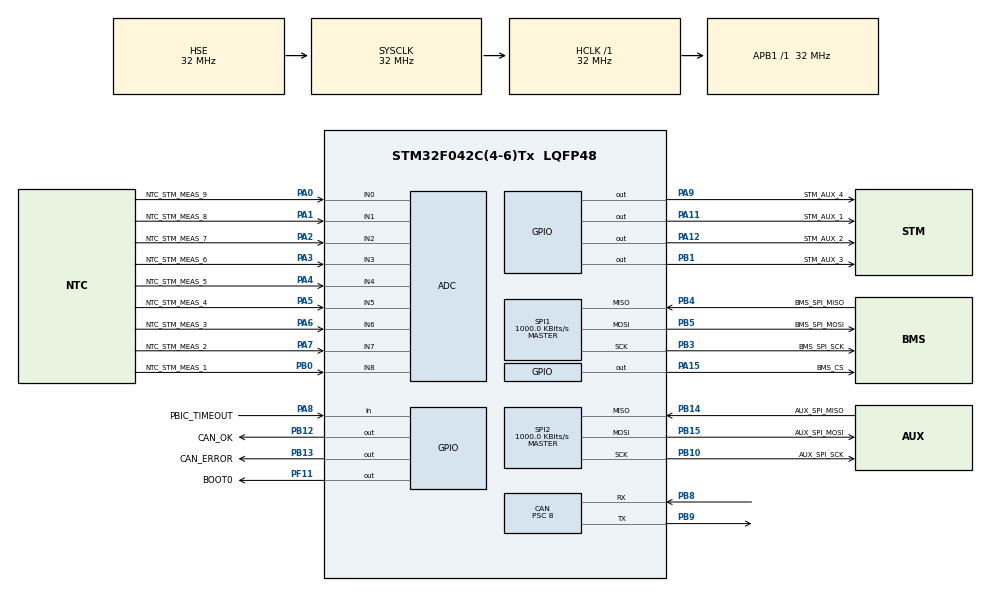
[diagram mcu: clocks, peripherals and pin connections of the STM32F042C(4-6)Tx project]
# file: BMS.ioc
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CAN.BS1=CAN_BS1_13TQ
CAN.BS2=CAN_BS2_2TQ
CAN.CalculateBaudRate=250000
CAN.CalculateTimeBit=4000
CAN.CalculateTimeQuantum=250.0
CAN.Prescaler=8
Mcu.Family=STM32F0
Mcu.Name=STM32F042C(4-6)Tx
Mcu.Package=LQFP48
NVIC.CEC_CAN_IRQn=true\:0\:0\:false\:false\:true\:true\:true\:true
NVIC.TIM14_IRQn=true\:0\:0\:false\:false\:true\:true\:true\:true
NVIC.TIM1_BRK_UP_TRG_COM_IRQn=true\:0\:0\:false\:false\:true\:true\:true\:true
NVIC.TIM1_CC_IRQn=true\:0\:0\:false\:false\:true\:true\:true\:true
NVIC.TIM3_IRQn=true\:0\:0\:false\:false\:true\:true\:true\:true
PA0.GPIO_Label=NTC_STM_MEAS_9
PA0.Mode=IN0
PA0.Signal=ADC_IN0
PA1.GPIO_Label=NTC_STM_MEAS_8
PA1.Mode=IN1
PA1.Signal=ADC_IN1
PA11.GPIO_Label=STM_AUX_1
PA11.Signal=GPIO_Output
PA12.GPIO_Label=STM_AUX_2
PA12.Signal=GPIO_Output
PA13.Mode=Serial_Wire
PA13.Signal=SYS_SWDIO
PA14.Mode=Serial_Wire
PA14.Signal=SYS_SWCLK
PA15.GPIO_Label=BMS_CS
PA15.PinState=GPIO_PIN_SET
PA15.Signal=GPIO_Output
PA2.GPIO_Label=NTC_STM_MEAS_7
PA2.Mode=IN2
PA2.Signal=ADC_IN2
PA3.GPIO_Label=NTC_STM_MEAS_6
PA3.Mode=IN3
PA3.Signal=ADC_IN3
PA4.GPIO_Label=NTC_STM_MEAS_5
PA4.Mode=IN4
PA4.Signal=ADC_IN4
PA5.GPIO_Label=NTC_STM_MEAS_4
PA5.Mode=IN5
PA5.Signal=ADC_IN5
PA6.GPIO_Label=NTC_STM_MEAS_3
PA6.Mode=IN6
PA6.Signal=ADC_IN6
PA7.GPIO_Label=NTC_STM_MEAS_2
PA7.Mode=IN7
PA7.Signal=ADC_IN7
PA8.GPIO_Label=PBIC_TIMEOUT
PA8.Signal=GPIO_Input
PA9.GPIO_Label=STM_AUX_4
PA9.Signal=GPIO_Output
PB0.GPIO_Label=NTC_STM_MEAS_1
PB0.Mode=IN8
PB0.Signal=ADC_IN8
PB1.GPIO_Label=STM_AUX_3
PB1.Signal=GPIO_Output
PB10.GPIO_Label=AUX_SPI_SCK
PB10.Mode=Full_Duplex_Master
PB10.Signal=SPI2_SCK
PB12.GPIO_Label=CAN_OK
PB12.Signal=GPIO_Output
PB13.GPIO_Label=CAN_ERROR
PB13.Signal=GPIO_Output
PB14.GPIO_Label=AUX_SPI_MISO
PB14.Mode=Full_Duplex_Master
PB14.Signal=SPI2_MISO
PB15.GPIO_Label=AUX_SPI_MOSI
PB15.Mode=Full_Duplex_Master
PB15.Signal=SPI2_MOSI
PB3.GPIO_Label=BMS_SPI_SCK
PB3.Mode=Full_Duplex_Master
PB3.Signal=SPI1_SCK
PB4.GPIO_Label=BMS_SPI_MISO
PB4.Mode=Full_Duplex_Master
PB4.Signal=SPI1_MISO
PB5.GPIO_Label=BMS_SPI_MOSI
PB5.Mode=Full_Duplex_Master
PB5.Signal=SPI1_MOSI
PB8.Mode=CAN_Activate
PB8.Signal=CAN_RX
PB9.Mode=CAN_Activate
PB9.Signal=CAN_TX
PF0-OSC_IN.Mode=HSE-External-Oscillator
PF0-OSC_IN.Signal=RCC_OSC_IN
PF1-OSC_OUT.Mode=HSE-External-Oscillator
PF1-OSC_OUT.Signal=RCC_OSC_OUT
PF11.GPIO_Label=BOOT0
PF11.GPIO_PuPd=GPIO_PULLDOWN
PF11.Signal=GPIO_Output
ProjectManager.HeapSize=0x200
ProjectManager.StackSize=0x400
ProjectManager.TargetToolchain=STM32CubeIDE
RCC.AHBFreq_Value=32000000
RCC.APB1Freq_Value=32000000
RCC.APB1TimFreq_Value=32000000
RCC.HCLKFreq_Value=32000000
RCC.HSE_VALUE=32000000
RCC.PLLSourceVirtual=RCC_PLLSOURCE_HSE
RCC.SYSCLKFreq_VALUE=32000000
RCC.SYSCLKSource=RCC_SYSCLKSOURCE_HSE
SPI1.BaudRatePrescaler=SPI_BAUDRATEPRESCALER_32
SPI1.CLKPhase=SPI_PHASE_1EDGE
SPI1.CLKPolarity=SPI_POLARITY_LOW
SPI1.CRCCalculation=SPI_CRCCALCULATION_DISABLE
SPI1.CalculateBaudRate=1000.0 KBits/s
SPI1.DataSize=SPI_DATASIZE_8BIT
SPI1.Direction=SPI_DIRECTION_2LINES
SPI1.Mode=SPI_MODE_MASTER
SPI1.VirtualType=VM_MASTER
SPI2.BaudRatePrescaler=SPI_BAUDRATEPRESCALER_32
SPI2.CalculateBaudRate=1000.0 KBits/s
SPI2.Direction=SPI_DIRECTION_2LINES
SPI2.Mode=SPI_MODE_MASTER
SPI2.VirtualType=VM_MASTER
TIM1.Channel-Output\ Compare1\ No\ Output=TIM_CHANNEL_1
TIM1.OCMode_1=TIM_OCMODE_TIMING
TIM1.Period=64101
TIM1.Prescaler=1247
TIM14.Channel=TIM_CHANNEL_1
TIM14.Period=62499
TIM14.Prescaler=511
TIM3.Channel-Output\ Compare1\ No\ Output=TIM_CHANNEL_1
TIM3.Period=62749
TIM3.Prescaler=127
VP_ADC_TempSens_Input.Mode=IN-TempSens
VP_TIM14_VS_ClockSourceINT.Mode=Enable_Timer
VP_TIM14_VS_no_output1.Mode=Output Compare1 No Output
VP_TIM1_VS_ClockSourceINT.Mode=Internal
VP_TIM1_VS_no_output1.Mode=Output Compare1 No Output
VP_TIM3_VS_ClockSourceINT.Mode=Internal
VP_TIM3_VS_no_output1.Mode=Output Compare1 No Output
board=custom

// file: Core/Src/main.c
/* USER CODE BEGIN Header */
/**
 ******************************************************************************
 * @file           : main.c
 * @brief          : Main program body
 ******************************************************************************
 * @attention
 *
 * Copyright (c) 2024 STMicroelectronics.
 * All rights reserved.
 *
 * This software is licensed under terms that can be found in the LICENSE file
 * in the root directory of this software component.
 * If no LICENSE file comes with this software, it is provided AS-IS.
 *
 ******************************************************************************
 */
/* USER CODE END Header */
#include "main.h"
#include "adc.h"
#include "can.h"
#include "spi.h"
#include "tim.h"
#include "gpio.h"

/* USER CODE BEGIN Includes */
#include "bmsCommands.h"
#include "canCommunication.h"
#include "structs.h"
#include "flashStorage.h"
/* USER CODE END Includes */

/* USER CODE BEGIN PD */

BmsStatus status = { .cellVoltages = { 0 }, 		// Stores all cell voltages
		.minVoltage = 50000,		// Set higher than maximum possible voltage
		.maxVoltage = 0,			// Set lower than minimum possible voltage
		.packCurrent = 0,					// Initialise at 0mA
		.packCurrentCounter = 0,			// Initialise at 0As
		.cellTemperatures = { 1, 2, 3, 4, 5, 6, 7, 8 },	// Stores all cell temperatures
		.maxTemp = 0,						// Initialise at 0
		.maxTemp = 5000,						// Initialise at 500 degrees
		.stmTemperature = 0,				// Internal STM thermistor
		.passiveBalancingActive = 0,// Passive balancing is not active on startup
		.cellPassiveBalancingFlags = 0,		// No cells are balancing on startup
		.numCellsBalancing = 0,			// Number of cells currently balancing
		.cellOverVoltage = 0,				// Reset Over Voltage Error
		.cellUnderVoltage = 0,				// Reset Under Voltage Error
		.cellShutdownTemperature = 0,		// Reset Shutdown Temperature Error
		.cellWarningTemperature = 0,		// Reset Warning Temperature Error
		.pbIcWatchdogTimeout = 0,		// Reset PB IC Watchdog Timeout Error
		};

// Initialize an instance of BmsConfig
BmsConfig config = { .numberOfCells = 18,// BMS is designed to have 18 cells on it
		.numberOfPopulatedCells = 7,// Set to 7 for P4P, would be 18 normally
		.numberOfThermistors = 8,// There are 8 thermistors wired to the STM ADCs
		.populatedCells = { 2, 4, 6, 8, 10, 12, 14 },
		.overVoltageMV = 42000,// HV-LiPo (M025) are 4.35V, LiCoO2 (<2024) are 4.2V
		.underVoltageMV = 32000,			// All LiPo are 3.2V
		.overVoltageMV = 42000,			// All LiPo are 4.2V
		.shutdownTemperature = 60,	// Rules dictate max accumulator temp is 60C
		.warningTemperature = 50,			// Chosen semi-arbitrarily
		.passiveBalanceEnabled = 0,			// Disable by default
		.passiveBalanceThreshold = 20,		// 2mV
		};

/* USER CODE END PD */

void SystemClock_Config(void);

int main(void)
{

  /* MCU Configuration--------------------------------------------------------*/

  /* Reset of all peripherals, Initializes the Flash interface and the Systick. */
  HAL_Init();

  /* USER CODE BEGIN Init */
	HAL_Delay(250); // Delay To ensure Motec & rest of car ready
  /* USER CODE END Init */

  /* Configure the system clock */
  SystemClock_Config();

  /* Initialize all configured peripherals */
  MX_GPIO_Init();
  MX_ADC_Init();
  MX_CAN_Init();
  MX_SPI1_Init();
  MX_SPI2_Init();
  MX_TIM1_Init();
  MX_TIM14_Init();
  MX_TIM3_Init();
  /* USER CODE BEGIN 2 */

	// Janky Startup Blinking
	for (uint8_t blinks = 0; blinks < 5; blinks++) {
		HAL_GPIO_WritePin(CAN_OK_GPIO_Port, CAN_OK_Pin, GPIO_PIN_SET);
		HAL_GPIO_WritePin(CAN_ERROR_GPIO_Port, CAN_ERROR_Pin, GPIO_PIN_RESET);
		HAL_Delay(100); // Delay To ensure Motec & rest of car ready
		HAL_GPIO_WritePin(CAN_OK_GPIO_Port, CAN_OK_Pin, GPIO_PIN_RESET);
		HAL_GPIO_WritePin(CAN_ERROR_GPIO_Port, CAN_ERROR_Pin, GPIO_PIN_SET);
		HAL_Delay(100); // Delay To ensure Motec & rest of car ready
	}
	// Ensure they're off
	HAL_GPIO_WritePin(CAN_ERROR_GPIO_Port, CAN_ERROR_Pin, GPIO_PIN_RESET);
	HAL_GPIO_WritePin(CAN_OK_GPIO_Port, CAN_OK_Pin, GPIO_PIN_RESET);

  BMS_InitConfigRegisters();
	CAN_SendBmsConfiguration();
	CAN_SendBalanceConfiguration();

	// Load previous energy values
	FLASH_CheckForSegmentCapacity();

	// Begin Timers
	HAL_TIM_Base_Start_IT(&htim1);  // Get BMS Voltages
	HAL_TIM_Base_Start_IT(&htim3);  // Send CAN Voltages
	HAL_TIM_Base_Start_IT(&htim14); // Get BMS Temperatures && Other shit
  /* USER CODE END 2 */

  /* Infinite loop */
  /* USER CODE BEGIN WHILE */

	while (1) {
		// Check if 1 second has passed, if so save energies to flash
//		uint32_t currentTime = HAL_GetTick();
//		if (currentTime - lastSaveTime >= 1000) {
//			writeToFlash(cellRemainingEnergy, 20);
//			lastSaveTime = currentTime;
//		}
    /* USER CODE END WHILE */

	}
}

void SystemClock_Config(void)
{
  RCC_OscInitTypeDef RCC_OscInitStruct = {0};
  RCC_ClkInitTypeDef RCC_ClkInitStruct = {0};

  /** Initializes the RCC Oscillators according to the specified parameters
  * in the RCC_OscInitTypeDef structure.
  */
  RCC_OscInitStruct.OscillatorType = RCC_OSCILLATORTYPE_HSI14|RCC_OSCILLATORTYPE_HSE;
  RCC_OscInitStruct.HSEState = RCC_HSE_ON;
  RCC_OscInitStruct.HSI14State = RCC_HSI14_ON;
  RCC_OscInitStruct.HSI14CalibrationValue = 16;
  RCC_OscInitStruct.PLL.PLLState = RCC_PLL_NONE;
  if (HAL_RCC_OscConfig(&RCC_OscInitStruct) != HAL_OK)
  {
    Error_Handler();
  }

  /** Initializes the CPU, AHB and APB buses clocks
  */
  RCC_ClkInitStruct.ClockType = RCC_CLOCKTYPE_HCLK|RCC_CLOCKTYPE_SYSCLK
                              |RCC_CLOCKTYPE_PCLK1;
  RCC_ClkInitStruct.SYSCLKSource = RCC_SYSCLKSOURCE_HSE;
  RCC_ClkInitStruct.AHBCLKDivider = RCC_SYSCLK_DIV1;
  RCC_ClkInitStruct.APB1CLKDivider = RCC_HCLK_DIV1;

  if (HAL_RCC_ClockConfig(&RCC_ClkInitStruct, FLASH_LATENCY_1) != HAL_OK)
  {
    Error_Handler();
  }
}

void Error_Handler(void)
{
	__disable_irq();
	while (1) {
	}
}
